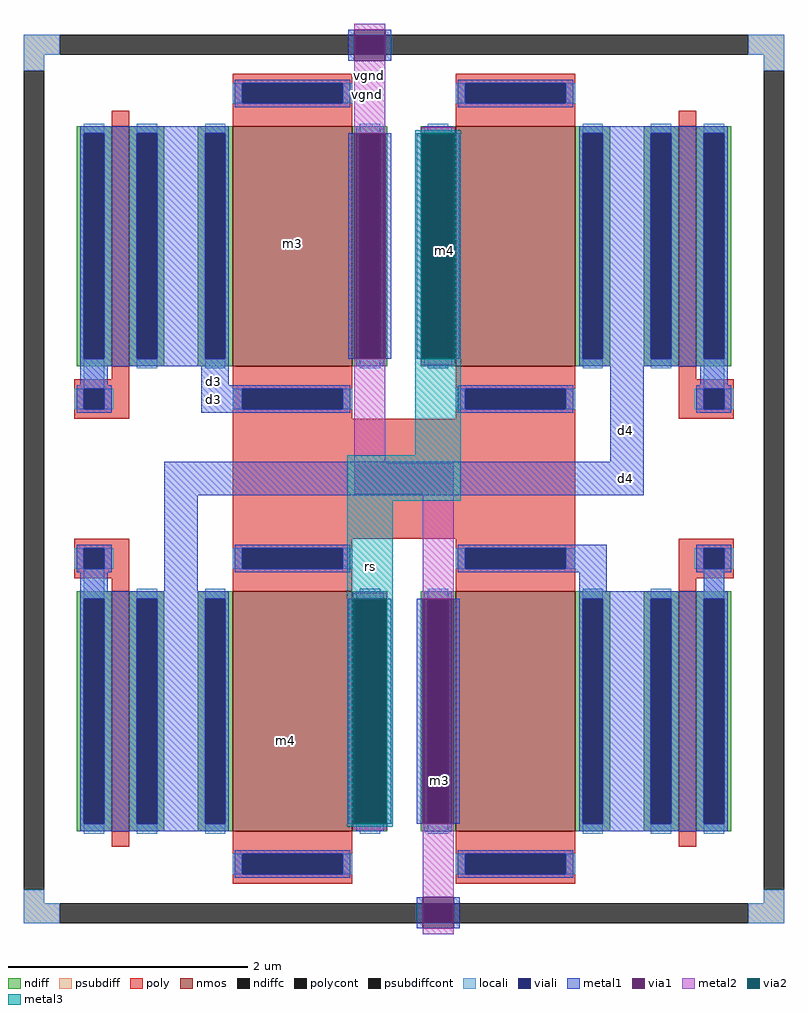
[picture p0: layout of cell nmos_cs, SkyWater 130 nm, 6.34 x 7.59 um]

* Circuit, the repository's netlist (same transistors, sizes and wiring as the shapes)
** sch_path: /home/ahmadjabar/project/opamp/mag/nmos_cs.sch
.subckt nmos_cs d3 d4 rs vgnd
*.PININFO vgnd:B rs:B d3:B d4:B
XM3 d3 d3 vgnd vgnd sky130_fd_pr__nfet_01v8 L=1 W=2 nf=1 m=2
XM4 d4 d3 rs vgnd sky130_fd_pr__nfet_01v8 L=1 W=2 nf=1 m=2
XM1 d3 d3 d3 vgnd sky130_fd_pr__nfet_01v8 L=0.15 W=2 nf=1 m=2
XM2 d4 d4 d4 vgnd sky130_fd_pr__nfet_01v8 L=0.15 W=2 nf=1 m=2
.ends
.end

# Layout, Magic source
magic
tech sky130A
magscale 1 2
<< psubdiff >>
rect -190 207 -130 241
rect 1018 207 1078 241
rect -190 181 -156 207
rect 1044 181 1078 207
rect -190 -1208 -156 -1186
rect 1044 -1208 1078 -1186
rect -190 -1242 -130 -1208
rect 1018 -1242 1078 -1208
<< psubdiffcont >>
rect -130 207 1018 241
rect -190 -1186 -156 181
rect 1044 -1186 1078 181
rect -130 -1242 1018 -1208
<< poly >>
rect -106 -338 -40 -334
rect -106 -350 -14 -338
rect -106 -384 -90 -350
rect -56 -384 -14 -350
rect -106 -400 -14 -384
rect 902 -350 994 -334
rect 902 -384 944 -350
rect 978 -384 994 -350
rect 902 -400 994 -384
rect 158 -600 730 -400
rect -106 -616 -14 -600
rect -106 -650 -90 -616
rect -56 -650 -14 -616
rect -106 -666 -14 -650
rect 902 -616 994 -600
rect 902 -650 944 -616
rect 978 -650 994 -616
rect 902 -666 994 -650
<< polycont >>
rect -90 -384 -56 -350
rect 944 -384 978 -350
rect -90 -650 -56 -616
rect 944 -650 978 -616
<< locali >>
rect -190 207 -130 241
rect 1018 207 1078 241
rect -190 181 -156 207
rect 1044 181 1078 207
rect -90 -350 -56 -316
rect 944 -350 978 -316
rect -106 -384 -90 -350
rect -56 -384 -40 -350
rect 928 -384 944 -350
rect 978 -384 994 -350
rect -106 -650 -90 -616
rect -56 -650 -40 -616
rect 928 -650 944 -616
rect 978 -650 994 -616
rect -90 -684 -56 -650
rect 944 -684 978 -650
rect -190 -1208 -156 -1186
rect 1044 -1208 1078 -1186
rect -190 -1242 -130 -1208
rect 1018 -1242 1078 -1208
<< viali >>
rect 364 207 410 241
rect -90 -300 -56 76
rect -2 -300 32 76
rect 112 -300 146 76
rect 370 -300 404 76
rect 484 -300 518 76
rect 742 -300 776 76
rect 856 -300 890 76
rect 944 -300 978 76
rect -90 -384 -56 -350
rect 174 -384 342 -350
rect 944 -384 978 -350
rect -90 -650 -56 -616
rect 546 -650 714 -616
rect 944 -650 978 -616
rect -90 -1076 -56 -700
rect -2 -1076 32 -700
rect 112 -1076 146 -700
rect 370 -1076 404 -700
rect 484 -1076 518 -700
rect 742 -1076 776 -700
rect 856 -1076 890 -700
rect 944 -1076 978 -700
rect 478 -1242 524 -1208
<< metal1 >>
rect 351 197 361 249
rect 413 197 423 249
rect -96 76 152 88
rect 364 76 410 88
rect 478 76 524 88
rect 736 76 984 88
rect -96 -300 -90 76
rect -56 -300 -2 76
rect 32 -300 112 76
rect 146 -300 152 76
rect 351 -300 361 76
rect 413 -300 423 76
rect 465 -300 475 76
rect 527 -300 537 76
rect 736 -300 742 76
rect 776 -300 856 76
rect 890 -300 944 76
rect 978 -300 984 76
rect -96 -312 152 -300
rect 364 -312 410 -300
rect 478 -312 524 -300
rect 736 -312 984 -300
rect -96 -344 -50 -312
rect 106 -344 152 -312
rect -102 -350 -44 -344
rect -102 -384 -90 -350
rect -56 -384 -44 -350
rect -102 -390 -44 -384
rect 106 -350 354 -344
rect 106 -384 174 -350
rect 342 -384 354 -350
rect 106 -390 354 -384
rect 788 -472 844 -312
rect 938 -344 984 -312
rect 932 -350 990 -344
rect 932 -384 944 -350
rect 978 -384 990 -350
rect 932 -390 990 -384
rect 44 -528 844 -472
rect -102 -616 -44 -610
rect -102 -650 -90 -616
rect -56 -650 -44 -616
rect -102 -656 -44 -650
rect -96 -688 -50 -656
rect 44 -688 100 -528
rect 534 -616 782 -610
rect 534 -650 546 -616
rect 714 -650 782 -616
rect 534 -656 782 -650
rect 932 -616 990 -610
rect 932 -650 944 -616
rect 978 -650 990 -616
rect 932 -656 990 -650
rect 736 -688 782 -656
rect 944 -688 978 -656
rect -96 -700 152 -688
rect 364 -700 410 -688
rect 478 -700 524 -688
rect 736 -700 984 -688
rect -96 -1076 -90 -700
rect -56 -1076 -2 -700
rect 32 -1076 112 -700
rect 146 -1076 152 -700
rect 351 -1076 361 -700
rect 413 -1076 423 -700
rect 465 -1076 475 -700
rect 527 -1076 537 -700
rect 736 -1076 742 -700
rect 776 -1076 856 -700
rect 890 -1076 944 -700
rect 978 -1076 984 -700
rect -96 -1088 152 -1076
rect 364 -1088 410 -1076
rect 478 -1089 524 -1076
rect 736 -1088 984 -1076
rect 465 -1250 475 -1198
rect 527 -1250 537 -1198
<< via1 >>
rect 361 241 413 249
rect 361 207 364 241
rect 364 207 410 241
rect 410 207 413 241
rect 361 197 413 207
rect 361 -300 370 76
rect 370 -300 404 76
rect 404 -300 413 76
rect 475 -300 484 76
rect 484 -300 518 76
rect 518 -300 527 76
rect 361 -1076 370 -700
rect 370 -1076 404 -700
rect 404 -1076 413 -700
rect 475 -1076 484 -700
rect 484 -1076 518 -700
rect 518 -1076 527 -700
rect 475 -1208 527 -1198
rect 475 -1242 478 -1208
rect 478 -1242 524 -1208
rect 524 -1242 527 -1208
rect 475 -1250 527 -1242
<< metal2 >>
rect 361 249 413 259
rect 361 76 413 197
rect 361 -474 413 -300
rect 473 76 529 86
rect 473 -310 529 -300
rect 361 -526 527 -474
rect 359 -700 415 -690
rect 359 -1086 415 -1076
rect 475 -700 527 -526
rect 475 -1198 527 -1076
rect 475 -1260 527 -1250
<< via2 >>
rect 473 -300 475 76
rect 475 -300 527 76
rect 527 -300 529 76
rect 359 -1076 361 -700
rect 361 -1076 413 -700
rect 413 -1076 415 -700
<< metal3 >>
rect 463 76 539 81
rect 463 -300 473 76
rect 529 -300 539 76
rect 463 -461 539 -300
rect 349 -537 539 -461
rect 349 -700 425 -537
rect 349 -1076 359 -700
rect 415 -1076 425 -700
rect 349 -1081 425 -1076
use sky130_fd_pr__nfet_01v8_Q6XT6P  sky130_fd_pr__nfet_01v8_Q6XT6P_0
transform 1 0 444 0 1 -112
box -344 -288 344 288
use sky130_fd_pr__nfet_01v8_Q6XT6P  sky130_fd_pr__nfet_01v8_Q6XT6P_1
transform 1 0 444 0 1 -888
box -344 -288 344 288
use sky130_fd_pr__nfet_01v8_TC9PLT  sky130_fd_pr__nfet_01v8_TC9PLT_0
transform 1 0 -29 0 1 -888
box -73 -226 73 226
use sky130_fd_pr__nfet_01v8_TC9PLT  sky130_fd_pr__nfet_01v8_TC9PLT_1
transform 1 0 917 0 1 -888
box -73 -226 73 226
use sky130_fd_pr__nfet_01v8_TC9PLT  sky130_fd_pr__nfet_01v8_TC9PLT_2
transform 1 0 -29 0 1 -112
box -73 -226 73 226
use sky130_fd_pr__nfet_01v8_TC9PLT  sky130_fd_pr__nfet_01v8_TC9PLT_4
transform 1 0 917 0 1 -112
box -73 -226 73 226
<< labels >>
flabel space 258 -107 258 -107 0 FreeSans 160 0 0 0 m3
flabel space 246 -937 246 -937 0 FreeSans 160 0 0 0 m4
flabel viali 503 -1003 503 -1003 0 FreeSans 160 0 0 0 m3
flabel viali 511 -119 511 -119 0 FreeSans 160 0 0 0 m4
flabel metal2 383 141 383 141 0 FreeSans 160 0 0 0 vgnd
port 1 nsew
flabel metal3 388 -647 388 -647 0 FreeSans 160 0 0 0 rs
port 2 nsew
flabel metal1 127 -368 127 -368 0 FreeSans 160 0 0 0 d3
port 3 nsew
flabel metal1 813 -500 813 -500 0 FreeSans 160 0 0 0 d4
port 4 nsew
flabel metal1 814 -420 814 -420 0 FreeSans 160 0 0 0 d4
flabel metal1 126 -338 126 -338 0 FreeSans 160 0 0 0 d3
flabel metal3 384 -624 384 -624 0 FreeSans 160 0 0 0 rs
flabel metal2 386 172 386 172 0 FreeSans 160 0 0 0 vgnd
<< end >>

# cell sky130_fd_pr__nfet_01v8_Q6XT6P: kit device sky130_fd_pr__nfet_01v8, w 2 l 1 m 1 nf 2 diffcov 100 polycov 100 guard 0 glc 1 grc 1 gtc 1 gbc 1 tbcov 100 rlcov 100 topc 1 botc 1 poverlap 0 doverlap 0 lmin 0.15 wmin 0.42 compatible {sky130_fd_pr__nfet_01v8 sky130_fd_pr__nfet_01v8_lvt sky130_fd_bs_flash__special_sonosfet_star sky130_fd_pr__nfet_g5v0d10v5 sky130_fd_pr__nfet_05v0_nvt sky130_fd_pr__nfet_03v3_nvt} full_metal 1 viasrc 100 viadrn 100 viagate 100 viagb 0 viagr 0 viagl 0 viagt 0

# cell sky130_fd_pr__nfet_01v8_TC9PLT: kit device sky130_fd_pr__nfet_01v8, w 2 l 0.150 m 1 nf 1 diffcov 100 polycov 100 guard 0 glc 1 grc 1 gtc 1 gbc 1 tbcov 100 rlcov 100 topc 0 botc 0 poverlap 0 doverlap 1 lmin 0.15 wmin 0.42 compatible {sky130_fd_pr__nfet_01v8 sky130_fd_pr__nfet_01v8_lvt sky130_fd_bs_flash__special_sonosfet_star sky130_fd_pr__nfet_g5v0d10v5 sky130_fd_pr__nfet_05v0_nvt sky130_fd_pr__nfet_03v3_nvt} full_metal 1 viasrc 100 viadrn 100 viagate 100 viagb 0 viagr 0 viagl 0 viagt 0
